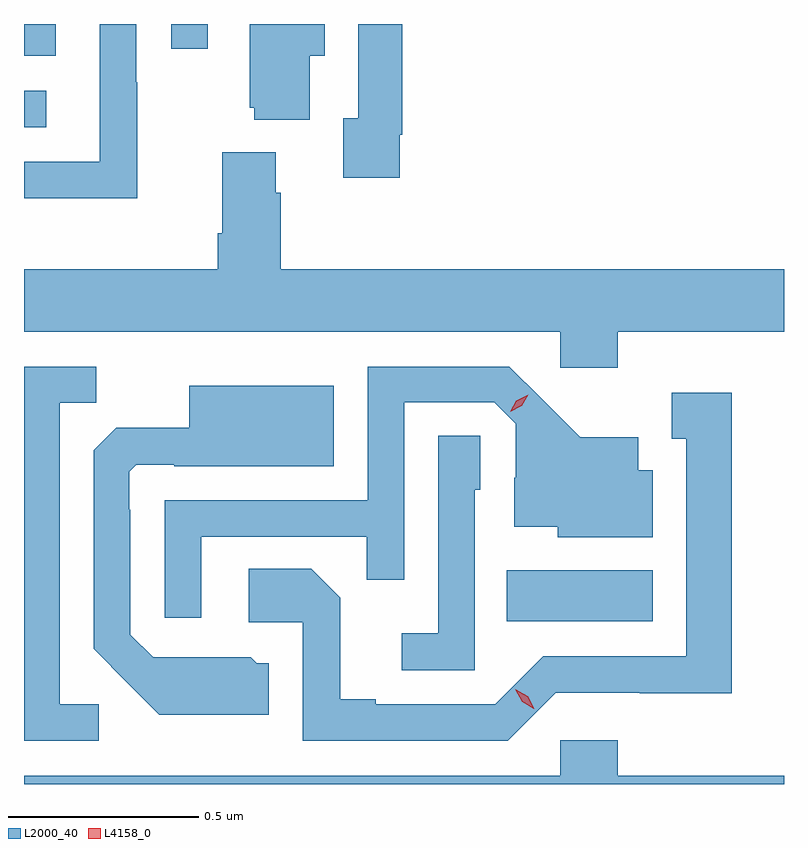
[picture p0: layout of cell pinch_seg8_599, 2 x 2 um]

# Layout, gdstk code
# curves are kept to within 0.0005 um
import gdstk
lib = gdstk.Library(unit=1e-6, precision=1e-09)
def R(c, l, rs):  # rectangles x0, y0, x1, y1
    for r in rs: c.add(gdstk.rectangle(r[:2], r[2:], *l))
def P(c, l, *ps):  # polygons
    for p in ps: c.add(gdstk.Polygon(p, *l))
L2000_40 = (2000, 40)
L4158_0 = (4158, 0)

pinch_seg8_599 = lib.new_cell('pinch_seg8_599')
R(pinch_seg8_599, L2000_40, [(163.12,1083.77,163.504,1083.904), (161.849,1085.07,161.908,1085.166), (161.849,1085.258,161.932,1085.342), (162.237,1085.277,162.333,1085.342)])
P(pinch_seg8_599, L2000_40, [(162.147,1085.189),(162.144,1085.189),(162.144,1085.342),(162.048,1085.342),(162.048,1084.98),(161.849,1084.98),(161.849,1084.883),(162.147,1084.883)],
  [(162.601,1085.258),(162.64,1085.258),(162.64,1085.342),(162.443,1085.342),(162.443,1085.121),(162.455,1085.121),(162.455,1085.09),(162.601,1085.09)],
  [(162.838,1085.05),(162.845,1085.05),(162.845,1085.342),(162.729,1085.342),(162.729,1085.094),(162.689,1085.094),(162.689,1084.938),(162.838,1084.938)],
  [(163.412,1084.532),(163.849,1084.532),(163.849,1084.696),(162.524,1084.696),(162.524,1084.898),(162.511,1084.898),(162.511,1085.005),(162.371,1085.005),(162.371,1084.792),(162.359,1084.792),(162.359,1084.696),(161.849,1084.696),(161.849,1084.532),(163.26,1084.532),(163.26,1084.437),(163.412,1084.437)],
  [(162.046,1083.552),(161.943,1083.552),(161.943,1084.345),(162.039,1084.345),(162.039,1084.44),(161.849,1084.44),(161.849,1083.456),(162.046,1083.456)],
  [(162.315,1083.993),(162.751,1083.993),(162.751,1083.88),(162.849,1083.88),(162.849,1084.347),(163.086,1084.347),(163.143,1084.29),(163.143,1084.148),(163.139,1084.148),(163.139,1084.019),(163.254,1084.019),(163.254,1083.992),(163.504,1083.992),(163.504,1084.168),(163.465,1084.168),(163.465,1084.255),(163.313,1084.255),(163.126,1084.44),(162.753,1084.44),(162.753,1084.089),(162.219,1084.089),(162.219,1083.78),(162.315,1083.78)],
  [(162.493,1083.66),(162.462,1083.66),(162.446,1083.676),(162.312,1083.676),(162.312,1083.675),(162.189,1083.675),(162.129,1083.735),(162.129,1084.064),(162.126,1084.064),(162.126,1084.164),(162.144,1084.182),(162.244,1084.182),(162.244,1084.178),(162.664,1084.178),(162.664,1084.39),(162.284,1084.39),(162.284,1084.279),(162.092,1084.279),(162.033,1084.22),(162.033,1083.698),(162.205,1083.524),(162.493,1083.524)],
  [(163.248,1083.582),(163.47,1083.582),(163.47,1083.581),(163.711,1083.581),(163.711,1084.372),(163.553,1084.372),(163.553,1084.251),(163.592,1084.251),(163.592,1083.678),(163.215,1083.678),(163.089,1083.552),(162.775,1083.552),(162.775,1083.565),(162.681,1083.565),(162.681,1083.832),(162.605,1083.908),(162.441,1083.908),(162.441,1083.768),(162.582,1083.768),(162.582,1083.456),(163.122,1083.456)],
  [(163.035,1084.116),(163.05,1084.116),(163.05,1084.259),(162.939,1084.259),(162.939,1083.739),(162.843,1083.739),(162.843,1083.642),(163.035,1083.642)],
  [(163.849,1083.364),(163.412,1083.364),(163.412,1083.457),(163.26,1083.457),(163.26,1083.364),(161.849,1083.364),(161.849,1083.342),(163.849,1083.342)])
P(pinch_seg8_599, L4158_0, [(163.191,1083.54),(163.16,1083.559),(163.142,1083.591),(163.142,1083.591),(163.142,1083.591),(163.174,1083.573),(163.192,1083.54),(163.192,1083.54)],
  [(163.128,1084.321),(163.128,1084.321),(163.145,1084.351),(163.176,1084.367),(163.176,1084.367),(163.176,1084.366),(163.159,1084.337),(163.129,1084.321)])

lib.write_gds('pinch_seg8_599.gds')
